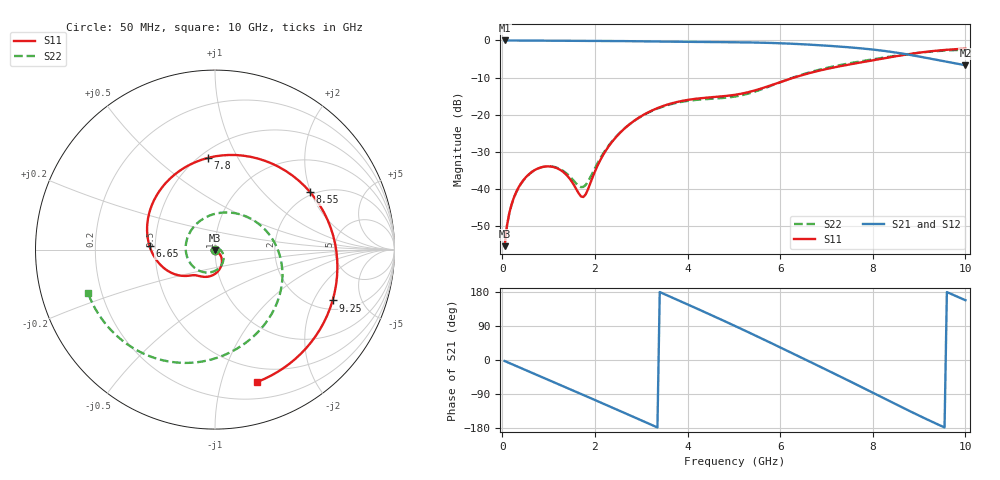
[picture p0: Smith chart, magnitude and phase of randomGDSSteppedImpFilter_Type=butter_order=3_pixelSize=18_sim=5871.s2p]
! freq	dB(S11)	phase(S11)	dB(S12)	phase(S12)
!  dB(S21)	phase(S21)	dB(S22)	phase(S22)
!S-par simulation data
#  GHz  S  DB  R 50
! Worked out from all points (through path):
!   200 points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, 50 MHz to 10 GHz, reference 50 ohm
!   highest |S21| = -0.01 dB at 50 MHz (marker M1); lowest = -6.7 dB at 10 GHz (marker M2)
!   group delay of S21, straight-line fit = 157 ps
!   lowest |S11| = -55.5 dB at 50 MHz (marker M3), VSWR 1.00, Z = 50 - j0.162 ohm
!   |S11| at or under -10 dB: start of sweep to 6.305 GHz
!   |S22| runs from -55.4 to -2.5 dB; largest |S21 - S12| = 0
!   S11 on the Smith chart (normalised r, x): 50 MHz: 1.00, -0.00; 6.65 GHz: 0.47, +0.02; 7.8 GHz: 0.55, +0.76; 8.55 GHz: 1.91, +1.98; 9.25 GHz: 2.47, -2.85; 10 GHz: 0.36, -1.31
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0.05  -55.51 -74.8  -0.01 -2.7  -0.01 -2.7  -55.42 -76.6
0.15  -46.65 -90.8  -0.02 -8.0  -0.02 -8.0  -46.72 -93.5
0.25  -42.40 -98.0  -0.02 -13.2  -0.02 -13.2  -42.49 -102.5
0.7  -34.97 -120.6  -0.05 -36.9  -0.05 -36.9  -35.01 -134.8
1.25  -34.92 -139.8  -0.08 -65.8  -0.08 -65.8  -34.72 -178.3
1.75  -42.25 -91.4  -0.11 -92.3  -0.11 -92.3  -39.51 85.3
2.45  -26.16 -47.9  -0.16 -129.6  -0.16 -129.6  -26.06 -27.7
2.95  -20.82 -66.3  -0.23 -156.4  -0.23 -156.4  -20.87 -64.5
3.4  -18.02 -84.2  -0.29 179.3  -0.29 179.3  -18.16 -95.6
3.85  -16.40 -101.0  -0.36 154.9  -0.36 154.9  -16.63 -127.7
4.35  -15.51 -116.4  -0.42 127.6  -0.42 127.6  -15.87 -167.3
5.05  -14.62 -129.9  -0.49 88.4  -0.49 88.4  -15.08 126.2
5.5  -13.32 -137.2  -0.58 62.6  -0.58 62.6  -13.62 80.4
5.95  -11.47 -149.7  -0.73 36.3  -0.73 36.3  -11.52 39.7
6.65  -8.76 177.0  -1.14 -5.1  -1.14 -5.1  -8.55 -9.8
6.7  -8.59 174.0  -1.18 -8.0  -1.18 -8.0  -8.37 -12.8
7.25  -7.06 137.3  -1.63 -40.8  -1.63 -40.8  -6.76 -42.1
7.8  -5.80 94.2  -2.20 -74.0  -2.20 -74.0  -5.51 -66.5
8.35  -4.59 47.9  -3.00 -107.7  -3.00 -107.7  -4.41 -88.7
8.55  -4.16 31.1  -3.37 -119.9  -3.37 -119.9  -4.04 -96.7
9.25  -2.93 -23.4  -4.94 -161.2  -4.94 -161.2  -3.02 -126.2
10  -2.23 -72.2  -6.69 157.7  -6.69 157.7  -2.52 -160.9
